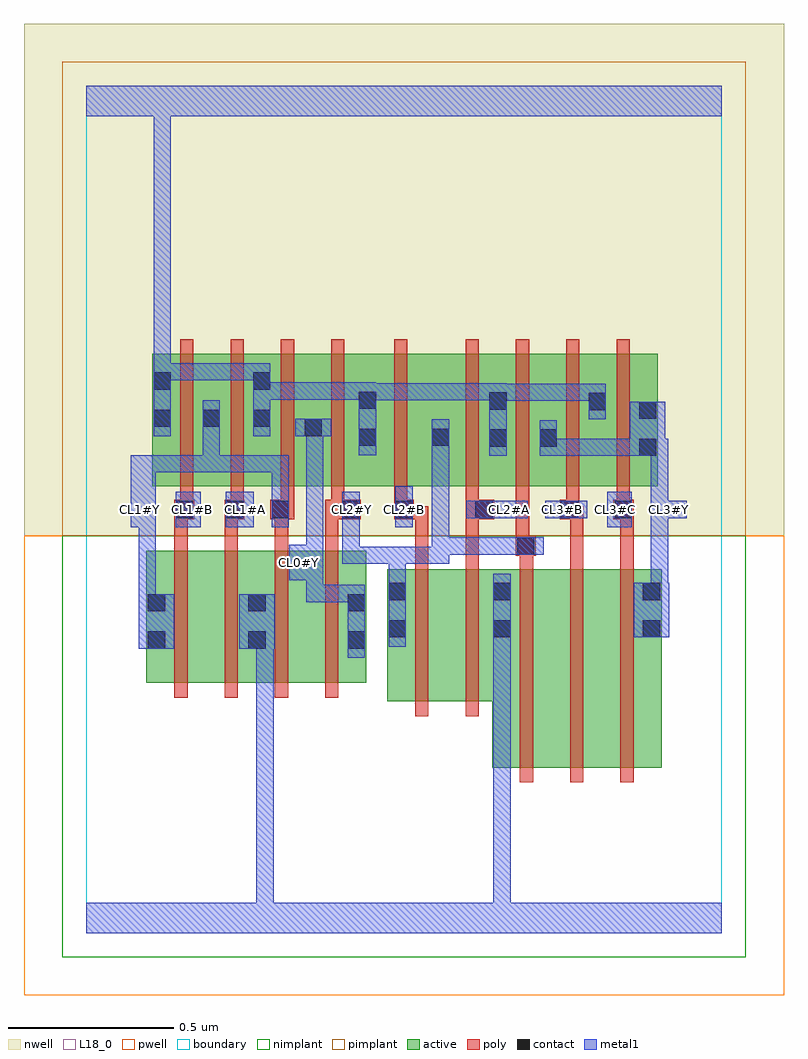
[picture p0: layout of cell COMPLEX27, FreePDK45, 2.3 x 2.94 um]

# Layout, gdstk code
import gdstk
lib = gdstk.Library(unit=1e-6, precision=1e-09)
def R(c, l, rs):  # rectangles x0, y0, x1, y1
    for r in rs: c.add(gdstk.rectangle(r[:2], r[2:], *l))
def A(c, l, x, y, w, h, nx, ny, dx, dy):  # array of equal rectangles
    R(c, l, [(x+i*dx, y+j*dy, x+i*dx+w, y+j*dy+h) for i in range(nx) for j in range(ny)])
active = (1, 0)
pwell = (2, 0)
nwell = (3, 0)
nimplant = (4, 0)
pimplant = (5, 0)
poly = (9, 0)
contact = (10, 0)
metal1 = (11, 0)
L18_0 = (18, 0)
boundary = (235, 0)

complex27 = lib.new_cell('COMPLEX27')
R(complex27, active, [(1.226,0.5,1.406,1.1), (1.406,0.5,1.558,1.1), (1.558,0.5,1.738,1.1), (1.678,0.556,1.738,1.1), (0.91,0.7,1.09,1.1), (1.09,0.7,1.286,1.1), (0.182,0.756,0.362,1.156), (0.182,0.756,0.242,1.156), (0.362,0.756,0.546,1.156), (0.486,0.756,0.666,1.156), (0.486,0.756,0.546,1.156), (0.666,0.756,0.846,1.156), (0.786,0.756,0.846,1.156), (0.91,0.756,0.97,1.1), (1.226,0.756,1.286,1.1), (0.2,1.35,0.408,1.75), (0.2,1.35,0.26,1.698), (0.348,1.35,0.408,1.644), (0.348,1.35,0.56,1.75), (0.5,1.35,0.716,1.75), (0.5,1.35,0.56,1.698), (0.656,1.35,0.716,1.644), (0.656,1.35,0.88,1.75), (0.82,1.35,0.88,1.644), (0.82,1.35,1.1,1.75), (1.04,1.35,1.1,1.644), (1.04,1.35,1.274,1.75), (1.214,1.35,1.274,1.644), (1.214,1.35,1.426,1.75), (1.366,1.35,1.426,1.644), (1.366,1.35,1.574,1.75), (1.514,1.35,1.574,1.644), (1.514,1.35,1.726,1.75), (1.666,1.35,1.726,1.644)])
R(complex27, pwell, [(-0.188,-0.188,2.108,1.2)])
R(complex27, nwell, [(-0.188,1.2,2.108,2.748)])
R(complex27, nimplant, [(-0.072,-0.072,1.992,1.2)])
R(complex27, pimplant, [(-0.072,1.2,1.992,2.632)])
A(complex27, poly, 1.31, 0.456, 0.04, 0.688, 3, 1, 0.152, 0)
A(complex27, poly, 0.266, 0.712, 0.04, 0.488, 4, 1, 0.152, 0)
A(complex27, poly, 0.266, 1.16, 0.04, 0.13, 4, 1, 0.152, 0)
A(complex27, poly, 0.284, 1.27, 0.04, 0.076, 4, 1, 0.152, 0)
A(complex27, poly, 0.284, 1.306, 0.04, 0.488, 4, 1, 0.152, 0)
A(complex27, poly, 1.146, 1.306, 0.04, 0.488, 4, 1, 0.152, 0)
R(complex27, poly, [(0.994,0.656,1.034,1.144), (1.146,0.656,1.186,1.144), (0.994,1.104,1.034,1.29), (1.146,1.104,1.186,1.29), (1.31,1.104,1.35,1.18), (1.462,1.104,1.502,1.29), (1.614,1.104,1.654,1.29), (1.298,1.14,1.358,1.2), (1.298,1.16,1.338,1.2), (1.298,1.16,1.338,1.2), (1.298,1.16,1.338,1.346), (0.266,1.25,0.326,1.31), (0.418,1.25,0.478,1.31), (0.556,1.25,0.628,1.31), (0.57,1.25,0.61,1.29), (0.57,1.25,0.61,1.29), (0.722,1.25,0.83,1.31), (0.93,1.25,0.99,1.31), (0.95,1.25,0.99,1.29), (0.95,1.25,1.034,1.29), (1.146,1.25,1.186,1.29), (1.146,1.25,1.186,1.29), (1.146,1.25,1.232,1.31), (1.43,1.25,1.49,1.31), (1.45,1.25,1.49,1.29), (1.45,1.25,1.502,1.29), (1.592,1.25,1.654,1.31), (0.284,1.27,0.324,1.31), (0.284,1.27,0.324,1.31), (0.436,1.27,0.476,1.31), (0.436,1.27,0.476,1.31), (0.74,1.27,0.78,1.31), (0.74,1.27,0.78,1.31), (0.93,1.27,0.97,1.346), (1.146,1.27,1.186,1.346), (1.45,1.27,1.49,1.346), (1.602,1.27,1.642,1.346), (1.602,1.27,1.642,1.31), (1.602,1.27,1.642,1.31), (0.93,1.306,0.97,1.794)])
R(complex27, contact, [(0.186,0.86,0.238,0.912), (0.49,0.86,0.542,0.912), (0.79,0.86,0.842,0.912), (0.914,0.894,0.966,0.946), (1.23,0.894,1.282,0.946), (1.682,0.894,1.734,0.946), (0.186,0.972,0.238,1.024), (0.49,0.972,0.542,1.024), (0.79,0.972,0.842,1.024), (0.914,1.006,0.966,1.058), (1.23,1.006,1.282,1.058), (1.682,1.006,1.734,1.058), (1.302,1.144,1.354,1.196), (0.27,1.254,0.322,1.306), (0.422,1.254,0.474,1.306), (0.56,1.254,0.612,1.306), (0.774,1.254,0.826,1.306), (0.934,1.254,0.986,1.306), (1.176,1.254,1.228,1.306), (1.434,1.254,1.486,1.306), (1.596,1.254,1.648,1.306), (1.67,1.442,1.722,1.494), (1.218,1.47,1.27,1.522), (1.37,1.47,1.422,1.522), (0.824,1.472,0.876,1.524), (1.044,1.472,1.096,1.524), (0.66,1.502,0.712,1.554), (0.204,1.53,0.256,1.582), (0.352,1.53,0.404,1.582), (0.504,1.53,0.556,1.582), (1.67,1.554,1.722,1.606), (1.518,1.58,1.57,1.632), (1.218,1.582,1.27,1.634), (0.824,1.584,0.876,1.636), (0.204,1.642,0.256,1.694), (0.504,1.642,0.556,1.694)])
R(complex27, metal1, [(0,0,1.92,0.092), (0.514,0.04,0.566,0.092), (0.514,0.04,0.566,0.092), (0.514,0.04,0.566,0.912), (1.23,0.04,1.282,0.092), (1.23,0.04,1.282,0.092), (1.23,0.04,1.282,0.092), (1.23,0.04,1.282,0.092), (1.23,0.04,1.282,0.092), (1.23,0.04,1.282,0.092), (1.23,0.04,1.282,0.092), (1.23,0.04,1.282,0.092), (1.23,0.04,1.282,0.918), (0.79,0.832,0.842,1.052), (0.158,0.86,0.266,1.024), (0.462,0.86,0.57,1.024), (0.514,0.86,0.566,0.912), (0.514,0.86,0.566,0.912), (0.514,0.86,0.566,0.912), (0.514,0.86,0.566,0.912), (0.514,0.86,0.566,0.912), (0.514,0.86,0.566,0.912), (0.514,0.86,0.566,0.912), (0.514,0.86,0.566,0.912), (0.514,0.86,0.566,0.912), (0.514,0.86,0.566,0.912), (0.914,0.866,0.966,1.086), (1.23,0.866,1.282,1.086), (1.654,0.894,1.762,1.058), (0.158,0.972,0.21,1.278), (0.664,1,0.716,1.052), (0.664,1,0.842,1.052), (0.664,1,0.716,1.118), (0.79,1,0.842,1.052), (0.79,1,0.842,1.052), (1.706,1.006,1.758,1.306), (0.914,1.034,0.966,1.168), (0.614,1.066,0.716,1.174), (0.774,1.116,0.966,1.168), (0.774,1.116,0.826,1.278), (0.914,1.116,0.966,1.168), (0.914,1.116,0.986,1.168), (0.934,1.116,0.986,1.168), (0.934,1.116,1.096,1.168), (1.044,1.116,1.096,1.196), (0.664,1.122,0.716,1.174), (0.664,1.122,0.716,1.174), (0.664,1.122,0.716,1.554), (1.044,1.144,1.096,1.196), (1.044,1.144,1.096,1.196), (1.044,1.144,1.27,1.196), (1.044,1.144,1.096,1.496), (1.218,1.144,1.27,1.196), (1.218,1.144,1.326,1.196), (1.274,1.144,1.382,1.196), (0.134,1.226,0.21,1.444), (0.158,1.226,0.21,1.278), (0.158,1.226,0.21,1.278), (0.27,1.226,0.346,1.334), (0.422,1.226,0.506,1.334), (0.56,1.226,0.612,1.444), (0.774,1.226,0.826,1.278), (0.774,1.226,0.826,1.334), (0.934,1.226,0.986,1.35), (1.574,1.226,1.648,1.334), (1.148,1.254,1.334,1.306), (1.386,1.254,1.514,1.306), (1.706,1.254,1.758,1.494), (1.706,1.254,1.814,1.306), (0.158,1.392,0.21,1.444), (0.158,1.392,0.21,1.444), (0.158,1.392,0.404,1.444), (0.352,1.392,0.404,1.444), (0.352,1.392,0.404,1.554), (0.352,1.392,0.456,1.444), (0.404,1.392,0.456,1.444), (0.404,1.392,0.556,1.444), (0.504,1.392,0.556,1.444), (0.504,1.392,0.612,1.444), (1.218,1.442,1.27,1.662), (1.37,1.442,1.422,1.494), (1.37,1.442,1.422,1.494), (1.37,1.442,1.422,1.55), (1.37,1.442,1.532,1.494), (1.48,1.442,1.532,1.494), (1.48,1.442,1.694,1.494), (1.642,1.442,1.694,1.494), (1.642,1.442,1.694,1.494), (1.642,1.442,1.75,1.606), (1.698,1.442,1.75,1.494), (1.698,1.442,1.758,1.494), (0.824,1.444,0.876,1.664), (1.044,1.444,1.096,1.496), (1.044,1.444,1.096,1.496), (1.044,1.444,1.096,1.552), (0.204,1.502,0.256,1.722), (0.352,1.502,0.404,1.61), (0.504,1.502,0.556,1.722), (0.632,1.502,0.74,1.554), (1.518,1.552,1.57,1.66), (1.218,1.608,1.27,1.66), (1.218,1.608,1.27,1.66), (1.218,1.608,1.38,1.66), (1.328,1.608,1.38,1.66), (1.328,1.608,1.38,1.66), (1.328,1.608,1.38,1.66), (1.328,1.608,1.57,1.66), (0.824,1.61,0.986,1.662), (0.934,1.61,0.986,1.662), (0.934,1.61,0.986,1.662), (0.934,1.61,0.986,1.662), (0.934,1.61,1.096,1.662), (1.044,1.61,1.096,1.662), (1.044,1.61,1.096,1.662), (1.044,1.61,1.096,1.662), (1.044,1.61,1.27,1.662), (0.504,1.612,0.666,1.664), (0.614,1.612,0.666,1.664), (0.614,1.612,0.666,1.664), (0.614,1.612,0.666,1.664), (0.614,1.612,0.776,1.664), (0.724,1.612,0.776,1.664), (0.724,1.612,0.876,1.664), (0.204,1.67,0.256,1.722), (0.204,1.67,0.256,1.722), (0.204,1.67,0.256,1.722), (0.204,1.67,0.256,1.722), (0.204,1.67,0.256,1.722), (0.204,1.67,0.256,1.722), (0.204,1.67,0.256,1.722), (0.204,1.67,0.256,1.722), (0.204,1.67,0.256,1.722), (0.204,1.67,0.256,1.722), (0.204,1.67,0.256,1.722), (0.204,1.67,0.256,1.722), (0.204,1.67,0.376,1.722), (0.204,1.67,0.256,2.52), (0.324,1.67,0.376,1.722), (0.324,1.67,0.376,1.722), (0.324,1.67,0.376,1.722), (0.324,1.67,0.556,1.722), (0,2.468,1.92,2.56), (0.204,2.468,0.256,2.52), (0.204,2.468,0.256,2.52), (0.204,2.468,0.256,2.52), (0.204,2.468,0.256,2.52), (0.204,2.468,0.256,2.52), (0.204,2.468,0.256,2.52)])
A(complex27, L18_0, 0.134, 1.254, 0.052, 0.052, 3, 1, 0.16, 0)
A(complex27, L18_0, 1.254, 1.254, 0.052, 0.052, 4, 1, 0.16, 0)
R(complex27, L18_0, [(0,0,1.92,0.092), (0.514,0.04,0.566,0.092), (0.514,0.04,0.566,0.092), (0.514,0.04,0.566,0.912), (1.23,0.04,1.282,0.092), (1.23,0.04,1.282,0.092), (1.23,0.04,1.282,0.092), (1.23,0.04,1.282,0.092), (1.23,0.04,1.282,0.092), (1.23,0.04,1.282,0.092), (1.23,0.04,1.282,0.092), (1.23,0.04,1.282,0.092), (1.23,0.04,1.282,0.918), (0.79,0.832,0.842,1.052), (0.158,0.86,0.266,1.024), (0.462,0.86,0.57,1.024), (0.514,0.86,0.566,0.912), (0.514,0.86,0.566,0.912), (0.514,0.86,0.566,0.912), (0.514,0.86,0.566,0.912), (0.514,0.86,0.566,0.912), (0.514,0.86,0.566,0.912), (0.514,0.86,0.566,0.912), (0.514,0.86,0.566,0.912), (0.514,0.86,0.566,0.912), (0.514,0.86,0.566,0.912), (0.914,0.866,0.966,1.086), (1.23,0.866,1.282,1.086), (1.654,0.894,1.762,1.058), (0.158,0.972,0.21,1.278), (0.664,1,0.716,1.052), (0.664,1,0.716,1.118), (0.664,1,0.842,1.052), (0.79,1,0.842,1.052), (0.79,1,0.842,1.052), (1.706,1.006,1.758,1.306), (0.914,1.034,0.966,1.168), (0.614,1.066,0.716,1.174), (0.614,1.094,0.666,1.146), (0.774,1.116,0.826,1.278), (0.774,1.116,0.966,1.168), (0.914,1.116,0.966,1.168), (0.914,1.116,0.986,1.168), (0.934,1.116,0.986,1.168), (0.934,1.116,1.096,1.168), (1.044,1.116,1.096,1.196), (0.664,1.122,0.716,1.174), (0.664,1.122,0.716,1.174), (0.664,1.122,0.716,1.554), (1.044,1.144,1.096,1.196), (1.044,1.144,1.096,1.196), (1.044,1.144,1.096,1.496), (1.044,1.144,1.27,1.196), (1.218,1.144,1.27,1.196), (1.218,1.144,1.326,1.196), (1.274,1.144,1.382,1.196), (0.134,1.226,0.21,1.444), (0.158,1.226,0.21,1.278), (0.158,1.226,0.21,1.278), (0.27,1.226,0.346,1.334), (0.422,1.226,0.506,1.334), (0.56,1.226,0.612,1.444), (0.774,1.226,0.826,1.278), (0.774,1.226,0.826,1.334), (0.934,1.226,0.986,1.35), (1.574,1.226,1.648,1.334), (0.774,1.254,0.826,1.306), (0.934,1.254,0.986,1.306), (1.148,1.254,1.334,1.306), (1.386,1.254,1.514,1.306), (1.706,1.254,1.814,1.306), (1.706,1.254,1.758,1.494), (0.158,1.392,0.21,1.444), (0.158,1.392,0.21,1.444), (0.158,1.392,0.404,1.444), (0.352,1.392,0.404,1.444), (0.352,1.392,0.404,1.554), (0.352,1.392,0.456,1.444), (0.404,1.392,0.456,1.444), (0.404,1.392,0.556,1.444), (0.504,1.392,0.556,1.444), (0.504,1.392,0.612,1.444), (1.218,1.442,1.27,1.662), (1.37,1.442,1.422,1.494), (1.37,1.442,1.422,1.494), (1.37,1.442,1.422,1.55), (1.37,1.442,1.532,1.494), (1.48,1.442,1.532,1.494), (1.48,1.442,1.694,1.494), (1.642,1.442,1.75,1.606), (1.642,1.442,1.694,1.494), (1.642,1.442,1.694,1.494), (1.698,1.442,1.75,1.494), (1.698,1.442,1.758,1.494), (0.824,1.444,0.876,1.664), (1.044,1.444,1.096,1.496), (1.044,1.444,1.096,1.496), (1.044,1.444,1.096,1.552), (0.204,1.502,0.256,1.722), (0.352,1.502,0.404,1.61), (0.504,1.502,0.556,1.722), (0.632,1.502,0.74,1.554), (1.518,1.552,1.57,1.66), (1.218,1.608,1.27,1.66), (1.218,1.608,1.27,1.66), (1.218,1.608,1.38,1.66), (1.328,1.608,1.38,1.66), (1.328,1.608,1.38,1.66), (1.328,1.608,1.38,1.66), (1.328,1.608,1.57,1.66), (0.824,1.61,0.986,1.662), (0.934,1.61,0.986,1.662), (0.934,1.61,0.986,1.662), (0.934,1.61,0.986,1.662), (0.934,1.61,1.096,1.662), (1.044,1.61,1.096,1.662), (1.044,1.61,1.096,1.662), (1.044,1.61,1.096,1.662), (1.044,1.61,1.27,1.662), (0.504,1.612,0.666,1.664), (0.614,1.612,0.666,1.664), (0.614,1.612,0.666,1.664), (0.614,1.612,0.666,1.664), (0.614,1.612,0.776,1.664), (0.724,1.612,0.776,1.664), (0.724,1.612,0.876,1.664), (0.204,1.67,0.256,1.722), (0.204,1.67,0.256,1.722), (0.204,1.67,0.256,1.722), (0.204,1.67,0.256,1.722), (0.204,1.67,0.256,1.722), (0.204,1.67,0.256,1.722), (0.204,1.67,0.256,1.722), (0.204,1.67,0.256,1.722), (0.204,1.67,0.256,1.722), (0.204,1.67,0.256,1.722), (0.204,1.67,0.256,1.722), (0.204,1.67,0.256,1.722), (0.204,1.67,0.256,2.52), (0.204,1.67,0.376,1.722), (0.324,1.67,0.376,1.722), (0.324,1.67,0.376,1.722), (0.324,1.67,0.376,1.722), (0.324,1.67,0.556,1.722), (0,2.468,1.92,2.56), (0.204,2.468,0.256,2.52), (0.204,2.468,0.256,2.52), (0.204,2.468,0.256,2.52), (0.204,2.468,0.256,2.52), (0.204,2.468,0.256,2.52), (0.204,2.468,0.256,2.52)])
R(complex27, boundary, [(0,0,1.92,2.56)])
complex27.add(gdstk.Label('CL0#Y', (0.64,1.12), layer=11, texttype=0))
complex27.add(gdstk.Label('CL1#A', (0.48,1.28), layer=11, texttype=0))
complex27.add(gdstk.Label('CL1#B', (0.32,1.28), layer=11, texttype=0))
complex27.add(gdstk.Label('CL1#Y', (0.16,1.28), layer=11, texttype=0))
complex27.add(gdstk.Label('CL2#A', (1.28,1.28), layer=11, texttype=0))
complex27.add(gdstk.Label('CL2#B', (0.96,1.28), layer=11, texttype=0))
complex27.add(gdstk.Label('CL2#Y', (0.8,1.28), layer=11, texttype=0))
complex27.add(gdstk.Label('CL3#B', (1.44,1.28), layer=11, texttype=0))
complex27.add(gdstk.Label('CL3#C', (1.6,1.28), layer=11, texttype=0))
complex27.add(gdstk.Label('CL3#Y', (1.76,1.28), layer=11, texttype=0))

lib.write_gds('COMPLEX27.gds')
